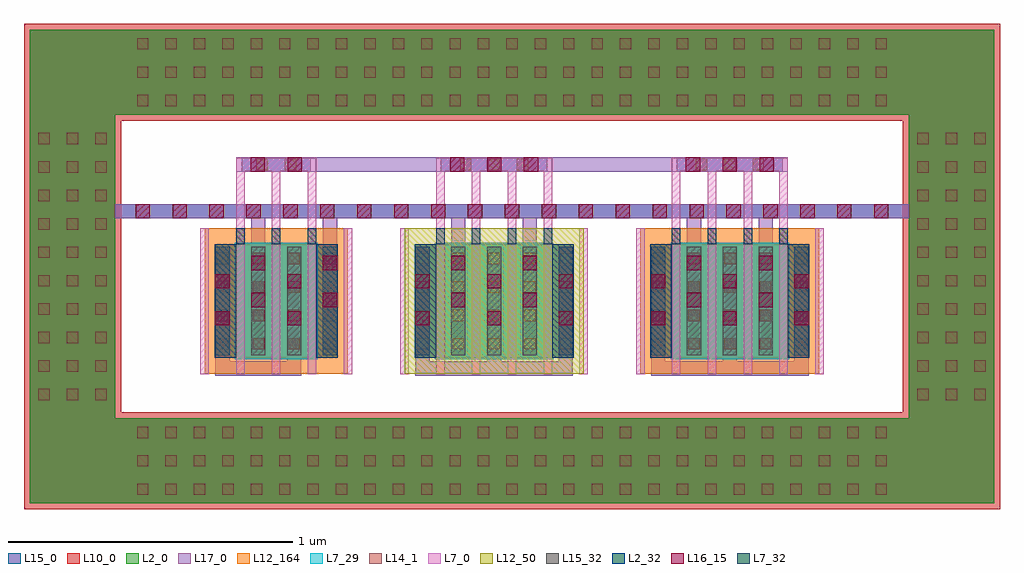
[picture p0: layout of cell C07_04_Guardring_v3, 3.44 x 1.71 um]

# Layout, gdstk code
import gdstk
lib = gdstk.Library(unit=1e-6, precision=1e-09)
def R(c, l, rs):  # rectangles x0, y0, x1, y1
    for r in rs: c.add(gdstk.rectangle(r[:2], r[2:], *l))
def A(c, l, x, y, w, h, nx, ny, dx, dy):  # array of equal rectangles
    R(c, l, [(x+i*dx, y+j*dy, x+i*dx+w, y+j*dy+h) for i in range(nx) for j in range(ny)])
L2_0 = (2, 0)
L2_32 = (2, 32)
L7_0 = (7, 0)
L7_29 = (7, 29)
L7_32 = (7, 32)
L10_0 = (10, 0)
L12_50 = (12, 50)
L12_164 = (12, 164)
L14_1 = (14, 1)
L15_0 = (15, 0)
L15_32 = (15, 32)
L16_15 = (16, 15)
L17_0 = (17, 0)

c07_04_guardring_v3_srf_ = lib.new_cell('C07_04_Guardring_v3:SRF_Tr12Tr3Tr10:SRF_Tr12:SRF_Source_ViaM1M2:SRF_ViaM1M2')
R(c07_04_guardring_v3_srf_, L15_0, [(0,-0.162,0.05,0.082)])
R(c07_04_guardring_v3_srf_, L16_15, [(0,-0.13,0.05,-0.08), (0,0,0.05,0.05)])
R(c07_04_guardring_v3_srf_, L17_0, [(0,-0.162,0.05,0.082)])

c_c07_04_guardring_v3_srf_ = lib.new_cell('C07_04_Guardring_v3:SRF_Tr12Tr3Tr10:SRF_Tr12:SRF_Source_ViaM1M2')
c_c07_04_guardring_v3_srf_.add(gdstk.Reference(c07_04_guardring_v3_srf_, (-0.025,0.04)))

c_c07_04_guardring_v3_srf__ = lib.new_cell('C07_04_Guardring_v3:SRF_Tr12Tr3Tr10:SRF_Tr12:SRF_Drain_ViaM1M2:SRF_ViaM1M2')
R(c_c07_04_guardring_v3_srf__, L15_0, [(0,-0.162,0.05,0.082)])
R(c_c07_04_guardring_v3_srf__, L16_15, [(0,-0.13,0.05,-0.08), (0,0,0.05,0.05)])
R(c_c07_04_guardring_v3_srf__, L17_0, [(0,-0.162,0.05,0.082)])

c_c07_04_guardring_v3_srf___ = lib.new_cell('C07_04_Guardring_v3:SRF_Tr12Tr3Tr10:SRF_Tr12:SRF_Drain_ViaM1M2')
c_c07_04_guardring_v3_srf___.add(gdstk.Reference(c_c07_04_guardring_v3_srf__, (-0.025,0.04)))

c_c07_04_guardring_v3_srf____ = lib.new_cell('C07_04_Guardring_v3:SRF_Tr12Tr3Tr10:SRF_Tr12:SRF_Gate_ViaM0Mx:SRF_ViaM0M1')
R(c_c07_04_guardring_v3_srf____, L7_0, [(-0.01,-0.004,0.15,0.044)])
R(c_c07_04_guardring_v3_srf____, L14_1, [(0,0,0.04,0.04), (0.1,0,0.14,0.04)])
R(c_c07_04_guardring_v3_srf____, L15_0, [(-0.021,-0.005,0.161,0.045)])

c_c07_04_guardring_v3_srf_____ = lib.new_cell('C07_04_Guardring_v3:SRF_Tr12Tr3Tr10:SRF_Tr12:SRF_Gate_ViaM0Mx:SRF_ViaM1M2')
R(c_c07_04_guardring_v3_srf_____, L15_0, [(-0.032,0,0.212,0.05)])
R(c_c07_04_guardring_v3_srf_____, L16_15, [(0,0,0.05,0.05), (0.13,0,0.18,0.05)])
R(c_c07_04_guardring_v3_srf_____, L17_0, [(-0.032,0,0.212,0.05)])

c_c07_04_guardring_v3_srf______ = lib.new_cell('C07_04_Guardring_v3:SRF_Tr12Tr3Tr10:SRF_Tr12:SRF_Gate_ViaM0Mx')
c_c07_04_guardring_v3_srf______.add(gdstk.Reference(c_c07_04_guardring_v3_srf____, (-0.07,-0.02)))
c_c07_04_guardring_v3_srf______.add(gdstk.Reference(c_c07_04_guardring_v3_srf_____, (-0.09,-0.025)))

c_c07_04_guardring_v3_srf_______ = lib.new_cell('C07_04_Guardring_v3:SRF_Tr12Tr3Tr10:SRF_Tr12')
R(c_c07_04_guardring_v3_srf_______, L2_0, [(-0.076,0.057,0.358,0.457)])
R(c_c07_04_guardring_v3_srf_______, L2_32, [(-0.076,0.057,0,0.457), (0.282,0.057,0.358,0.457)])
A(c_c07_04_guardring_v3_srf_______, L7_0, -0.126, 0, 0.03, 0.514, 5, 1, 0.126, 0)
A(c_c07_04_guardring_v3_srf_______, L7_0, 0, 0.514, 0.03, 0.2, 3, 1, 0.126, 0)
R(c_c07_04_guardring_v3_srf_______, L7_0, [(0,0.714,0.282,0.762)])
R(c_c07_04_guardring_v3_srf_______, L7_29, [(-0.005,0.052,0.287,0.462)])
A(c_c07_04_guardring_v3_srf_______, L7_32, 0, 0.457, 0.03, 0.057, 3, 1, 0.126, 0)
R(c_c07_04_guardring_v3_srf_______, L12_164, [(-0.111,0.001,0.393,0.513)])
A(c_c07_04_guardring_v3_srf_______, L14_1, -0.068, 0.087, 0.04, 0.04, 4, 4, 0.126, 0.1)
R(c_c07_04_guardring_v3_srf_______, L15_0, [(-0.073,0.066,-0.023,0.448), (-0.073,0.066,-0.023,0.448), (0.053,0.066,0.103,0.448), (0.053,0.066,0.103,0.448), (0.179,0.066,0.229,0.448), (0.179,0.066,0.229,0.448), (0.305,0.066,0.355,0.448), (0.305,0.066,0.355,0.448)])
A(c_c07_04_guardring_v3_srf_______, L15_32, -0.073, 0.066, 0.05, 0.382, 4, 1, 0.126, 0)
R(c_c07_04_guardring_v3_srf_______, L17_0, [(-0.073,-0.005,0.229,0.045), (-0.073,0.045,-0.023,0.384), (0.179,0.045,0.229,0.384), (0.053,0.448,0.103,0.548), (0.305,0.448,0.355,0.548), (0.053,0.548,0.355,0.598), (0,0.713,0.282,0.763)])
c_c07_04_guardring_v3_srf_______.add(gdstk.Reference(c_c07_04_guardring_v3_srf_, (-0.048,0.262)))
c_c07_04_guardring_v3_srf_______.add(gdstk.Reference(c_c07_04_guardring_v3_srf_, (0.204,0.262)))
c_c07_04_guardring_v3_srf_______.add(gdstk.Reference(c_c07_04_guardring_v3_srf___, (0.078,0.326)))
c_c07_04_guardring_v3_srf_______.add(gdstk.Reference(c_c07_04_guardring_v3_srf___, (0.33,0.326)))
c_c07_04_guardring_v3_srf_______.add(gdstk.Reference(c_c07_04_guardring_v3_srf______, (0.141,0.738)))

c_c07_04_guardring_v3_srf________ = lib.new_cell('C07_04_Guardring_v3:SRF_Tr12Tr3Tr10:SRF_Tr3:SRF_Source_ViaM1M2:SRF_ViaM1M2')
R(c_c07_04_guardring_v3_srf________, L15_0, [(0,-0.162,0.05,0.082)])
R(c_c07_04_guardring_v3_srf________, L16_15, [(0,-0.13,0.05,-0.08), (0,0,0.05,0.05)])
R(c_c07_04_guardring_v3_srf________, L17_0, [(0,-0.162,0.05,0.082)])

c_c07_04_guardring_v3_srf_________ = lib.new_cell('C07_04_Guardring_v3:SRF_Tr12Tr3Tr10:SRF_Tr3:SRF_Source_ViaM1M2')
c_c07_04_guardring_v3_srf_________.add(gdstk.Reference(c_c07_04_guardring_v3_srf________, (-0.025,0.04)))

c_c07_04_guardring_v3_srf__________ = lib.new_cell('C07_04_Guardring_v3:SRF_Tr12Tr3Tr10:SRF_Tr3:SRF_Drain_ViaM1M2:SRF_ViaM1M2')
R(c_c07_04_guardring_v3_srf__________, L15_0, [(0,-0.162,0.05,0.082)])
R(c_c07_04_guardring_v3_srf__________, L16_15, [(0,-0.13,0.05,-0.08), (0,0,0.05,0.05)])
R(c_c07_04_guardring_v3_srf__________, L17_0, [(0,-0.162,0.05,0.082)])

c_c07_04_guardring_v3_srf___________ = lib.new_cell('C07_04_Guardring_v3:SRF_Tr12Tr3Tr10:SRF_Tr3:SRF_Drain_ViaM1M2')
c_c07_04_guardring_v3_srf___________.add(gdstk.Reference(c_c07_04_guardring_v3_srf__________, (-0.025,0.04)))

c_c07_04_guardring_v3_srf____________ = lib.new_cell('C07_04_Guardring_v3:SRF_Tr12Tr3Tr10:SRF_Tr3:SRF_Gate_ViaM0Mx:SRF_ViaM0M1')
R(c_c07_04_guardring_v3_srf____________, L7_0, [(-0.01,-0.004,0.25,0.044)])
A(c_c07_04_guardring_v3_srf____________, L14_1, 0, 0, 0.04, 0.04, 3, 1, 0.1, 0)
R(c_c07_04_guardring_v3_srf____________, L15_0, [(-0.021,-0.005,0.261,0.045)])

c_c07_04_guardring_v3_srf_____________ = lib.new_cell('C07_04_Guardring_v3:SRF_Tr12Tr3Tr10:SRF_Tr3:SRF_Gate_ViaM0Mx:SRF_ViaM1M2')
R(c_c07_04_guardring_v3_srf_____________, L15_0, [(-0.032,0,0.342,0.05)])
A(c_c07_04_guardring_v3_srf_____________, L16_15, 0, 0, 0.05, 0.05, 3, 1, 0.13, 0)
R(c_c07_04_guardring_v3_srf_____________, L17_0, [(-0.032,0,0.342,0.05)])

c_c07_04_guardring_v3_srf______________ = lib.new_cell('C07_04_Guardring_v3:SRF_Tr12Tr3Tr10:SRF_Tr3:SRF_Gate_ViaM0Mx')
c_c07_04_guardring_v3_srf______________.add(gdstk.Reference(c_c07_04_guardring_v3_srf____________, (-0.12,-0.02)))
c_c07_04_guardring_v3_srf______________.add(gdstk.Reference(c_c07_04_guardring_v3_srf_____________, (-0.155,-0.025)))

c_c07_04_guardring_v3_srf_______________ = lib.new_cell('C07_04_Guardring_v3:SRF_Tr12Tr3Tr10:SRF_Tr3')
R(c_c07_04_guardring_v3_srf_______________, L2_0, [(-0.076,0.057,0.484,0.457)])
R(c_c07_04_guardring_v3_srf_______________, L2_32, [(-0.076,0.057,0,0.457), (0.408,0.057,0.484,0.457)])
A(c_c07_04_guardring_v3_srf_______________, L7_0, -0.126, 0, 0.03, 0.514, 6, 1, 0.126, 0)
A(c_c07_04_guardring_v3_srf_______________, L7_0, 0, 0.514, 0.03, 0.2, 4, 1, 0.126, 0)
R(c_c07_04_guardring_v3_srf_______________, L7_0, [(0,0.714,0.408,0.762)])
R(c_c07_04_guardring_v3_srf_______________, L7_29, [(-0.005,0.052,0.413,0.462)])
A(c_c07_04_guardring_v3_srf_______________, L7_32, 0, 0.457, 0.03, 0.057, 4, 1, 0.126, 0)
R(c_c07_04_guardring_v3_srf_______________, L12_50, [(-0.111,0.001,0.519,0.513)])
A(c_c07_04_guardring_v3_srf_______________, L14_1, -0.068, 0.087, 0.04, 0.04, 5, 4, 0.126, 0.1)
R(c_c07_04_guardring_v3_srf_______________, L15_0, [(-0.073,0.066,-0.023,0.448), (-0.073,0.066,-0.023,0.448), (0.053,0.066,0.103,0.448), (0.053,0.066,0.103,0.448), (0.179,0.066,0.229,0.448), (0.179,0.066,0.229,0.448), (0.305,0.066,0.355,0.448), (0.305,0.066,0.355,0.448), (0.431,0.066,0.481,0.448), (0.431,0.066,0.481,0.448)])
A(c_c07_04_guardring_v3_srf_______________, L15_32, -0.073, 0.066, 0.05, 0.382, 5, 1, 0.126, 0)
A(c_c07_04_guardring_v3_srf_______________, L17_0, -0.073, 0.045, 0.05, 0.339, 3, 1, 0.252, 0)
R(c_c07_04_guardring_v3_srf_______________, L17_0, [(-0.073,-0.005,0.481,0.045), (0.053,0.448,0.103,0.548), (0.305,0.448,0.355,0.548), (0.053,0.548,0.355,0.598), (0,0.713,0.408,0.763)])
c_c07_04_guardring_v3_srf_______________.add(gdstk.Reference(c_c07_04_guardring_v3_srf_________, (-0.048,0.262)))
c_c07_04_guardring_v3_srf_______________.add(gdstk.Reference(c_c07_04_guardring_v3_srf_________, (0.204,0.262)))
c_c07_04_guardring_v3_srf_______________.add(gdstk.Reference(c_c07_04_guardring_v3_srf_________, (0.456,0.262)))
c_c07_04_guardring_v3_srf_______________.add(gdstk.Reference(c_c07_04_guardring_v3_srf___________, (0.078,0.326)))
c_c07_04_guardring_v3_srf_______________.add(gdstk.Reference(c_c07_04_guardring_v3_srf___________, (0.33,0.326)))
c_c07_04_guardring_v3_srf_______________.add(gdstk.Reference(c_c07_04_guardring_v3_srf______________, (0.204,0.738)))

c_c07_04_guardring_v3_srf________________ = lib.new_cell('C07_04_Guardring_v3:SRF_Tr12Tr3Tr10:SRF_Tr10:SRF_Source_ViaM1M2:SRF_ViaM1M2')
R(c_c07_04_guardring_v3_srf________________, L15_0, [(0,-0.162,0.05,0.082)])
R(c_c07_04_guardring_v3_srf________________, L16_15, [(0,-0.13,0.05,-0.08), (0,0,0.05,0.05)])
R(c_c07_04_guardring_v3_srf________________, L17_0, [(0,-0.162,0.05,0.082)])

c_c07_04_guardring_v3_srf_________________ = lib.new_cell('C07_04_Guardring_v3:SRF_Tr12Tr3Tr10:SRF_Tr10:SRF_Source_ViaM1M2')
c_c07_04_guardring_v3_srf_________________.add(gdstk.Reference(c_c07_04_guardring_v3_srf________________, (-0.025,0.04)))

c_c07_04_guardring_v3_srf__________________ = lib.new_cell('C07_04_Guardring_v3:SRF_Tr12Tr3Tr10:SRF_Tr10:SRF_Drain_ViaM1M2:SRF_ViaM1M2')
R(c_c07_04_guardring_v3_srf__________________, L15_0, [(0,-0.162,0.05,0.082)])
R(c_c07_04_guardring_v3_srf__________________, L16_15, [(0,-0.13,0.05,-0.08), (0,0,0.05,0.05)])
R(c_c07_04_guardring_v3_srf__________________, L17_0, [(0,-0.162,0.05,0.082)])

c_c07_04_guardring_v3_srf___________________ = lib.new_cell('C07_04_Guardring_v3:SRF_Tr12Tr3Tr10:SRF_Tr10:SRF_Drain_ViaM1M2')
c_c07_04_guardring_v3_srf___________________.add(gdstk.Reference(c_c07_04_guardring_v3_srf__________________, (-0.025,0.04)))

c_c07_04_guardring_v3_srf____________________ = lib.new_cell('C07_04_Guardring_v3:SRF_Tr12Tr3Tr10:SRF_Tr10:SRF_Gate_ViaM0Mx:SRF_ViaM0M1')
R(c_c07_04_guardring_v3_srf____________________, L7_0, [(-0.01,-0.004,0.25,0.044)])
A(c_c07_04_guardring_v3_srf____________________, L14_1, 0, 0, 0.04, 0.04, 3, 1, 0.1, 0)
R(c_c07_04_guardring_v3_srf____________________, L15_0, [(-0.021,-0.005,0.261,0.045)])

c_c07_04_guardring_v3_srf_____________________ = lib.new_cell('C07_04_Guardring_v3:SRF_Tr12Tr3Tr10:SRF_Tr10:SRF_Gate_ViaM0Mx:SRF_ViaM1M2')
R(c_c07_04_guardring_v3_srf_____________________, L15_0, [(-0.032,0,0.342,0.05)])
A(c_c07_04_guardring_v3_srf_____________________, L16_15, 0, 0, 0.05, 0.05, 3, 1, 0.13, 0)
R(c_c07_04_guardring_v3_srf_____________________, L17_0, [(-0.032,0,0.342,0.05)])

c_c07_04_guardring_v3_srf______________________ = lib.new_cell('C07_04_Guardring_v3:SRF_Tr12Tr3Tr10:SRF_Tr10:SRF_Gate_ViaM0Mx')
c_c07_04_guardring_v3_srf______________________.add(gdstk.Reference(c_c07_04_guardring_v3_srf____________________, (-0.12,-0.02)))
c_c07_04_guardring_v3_srf______________________.add(gdstk.Reference(c_c07_04_guardring_v3_srf_____________________, (-0.155,-0.025)))

c_c07_04_guardring_v3_srf_______________________ = lib.new_cell('C07_04_Guardring_v3:SRF_Tr12Tr3Tr10:SRF_Tr10')
R(c_c07_04_guardring_v3_srf_______________________, L2_0, [(-0.076,0.057,0.484,0.457)])
R(c_c07_04_guardring_v3_srf_______________________, L2_32, [(-0.076,0.057,0,0.457), (0.408,0.057,0.484,0.457)])
A(c_c07_04_guardring_v3_srf_______________________, L7_0, -0.126, 0, 0.03, 0.514, 6, 1, 0.126, 0)
A(c_c07_04_guardring_v3_srf_______________________, L7_0, 0, 0.514, 0.03, 0.2, 4, 1, 0.126, 0)
R(c_c07_04_guardring_v3_srf_______________________, L7_0, [(0,0.714,0.408,0.762)])
R(c_c07_04_guardring_v3_srf_______________________, L7_29, [(-0.005,0.052,0.413,0.462)])
A(c_c07_04_guardring_v3_srf_______________________, L7_32, 0, 0.457, 0.03, 0.057, 4, 1, 0.126, 0)
R(c_c07_04_guardring_v3_srf_______________________, L12_164, [(-0.111,0.001,0.519,0.513)])
A(c_c07_04_guardring_v3_srf_______________________, L14_1, -0.068, 0.087, 0.04, 0.04, 5, 4, 0.126, 0.1)
R(c_c07_04_guardring_v3_srf_______________________, L15_0, [(-0.073,0.066,-0.023,0.448), (-0.073,0.066,-0.023,0.448), (0.053,0.066,0.103,0.448), (0.053,0.066,0.103,0.448), (0.179,0.066,0.229,0.448), (0.179,0.066,0.229,0.448), (0.305,0.066,0.355,0.448), (0.305,0.066,0.355,0.448), (0.431,0.066,0.481,0.448), (0.431,0.066,0.481,0.448)])
A(c_c07_04_guardring_v3_srf_______________________, L15_32, -0.073, 0.066, 0.05, 0.382, 5, 1, 0.126, 0)
A(c_c07_04_guardring_v3_srf_______________________, L17_0, -0.073, 0.045, 0.05, 0.339, 3, 1, 0.252, 0)
R(c_c07_04_guardring_v3_srf_______________________, L17_0, [(-0.073,-0.005,0.481,0.045), (0.053,0.448,0.103,0.548), (0.305,0.448,0.355,0.548), (0.053,0.548,0.355,0.598), (0,0.713,0.408,0.763)])
c_c07_04_guardring_v3_srf_______________________.add(gdstk.Reference(c_c07_04_guardring_v3_srf_________________, (-0.048,0.262)))
c_c07_04_guardring_v3_srf_______________________.add(gdstk.Reference(c_c07_04_guardring_v3_srf_________________, (0.204,0.262)))
c_c07_04_guardring_v3_srf_______________________.add(gdstk.Reference(c_c07_04_guardring_v3_srf_________________, (0.456,0.262)))
c_c07_04_guardring_v3_srf_______________________.add(gdstk.Reference(c_c07_04_guardring_v3_srf___________________, (0.078,0.326)))
c_c07_04_guardring_v3_srf_______________________.add(gdstk.Reference(c_c07_04_guardring_v3_srf___________________, (0.33,0.326)))
c_c07_04_guardring_v3_srf_______________________.add(gdstk.Reference(c_c07_04_guardring_v3_srf______________________, (0.204,0.738)))

c_c07_04_guardring_v3_srf________________________ = lib.new_cell('C07_04_Guardring_v3:SRF_Tr12Tr3Tr10')
c_c07_04_guardring_v3_srf________________________.add(gdstk.Reference(c_c07_04_guardring_v3_srf_______, (0,0)))
c_c07_04_guardring_v3_srf________________________.add(gdstk.Reference(c_c07_04_guardring_v3_srf_______________, (0.704,0)))
c_c07_04_guardring_v3_srf________________________.add(gdstk.Reference(c_c07_04_guardring_v3_srf_______________________, (1.534,0)))

c07_04_guardring_v3__pbo = lib.new_cell('C07_04_Guardring_v3:_Pbodyring:SRF_PbodyTop:SRF_PbodyContactPhyLen')
R(c07_04_guardring_v3__pbo, L2_0, [(-0.077,-0.23,2.717,0.07)])
R(c07_04_guardring_v3__pbo, L10_0, [(-0.098,-0.251,2.738,0.091)])
A(c07_04_guardring_v3__pbo, L14_1, 0, -0.2, 0.04, 0.04, 27, 3, 0.1, 0.1)
R(c07_04_guardring_v3__pbo, L15_0, [(-0.077,-0.23,2.717,0.07)])

c_c07_04_guardring_v3__pbo = lib.new_cell('C07_04_Guardring_v3:_Pbodyring:SRF_PbodyTop')
c_c07_04_guardring_v3__pbo.add(gdstk.Reference(c07_04_guardring_v3__pbo, (0,0)))

c_c07_04_guardring_v3__pbo_ = lib.new_cell('C07_04_Guardring_v3:_Pbodyring:SRF_PbodyBottom:SRF_PbodyContactPhyLen')
R(c_c07_04_guardring_v3__pbo_, L2_0, [(-0.077,-0.23,2.717,0.07)])
R(c_c07_04_guardring_v3__pbo_, L10_0, [(-0.098,-0.251,2.738,0.091)])
A(c_c07_04_guardring_v3__pbo_, L14_1, 0, -0.2, 0.04, 0.04, 27, 3, 0.1, 0.1)
R(c_c07_04_guardring_v3__pbo_, L15_0, [(-0.077,-0.23,2.717,0.07)])

c_c07_04_guardring_v3__pbo__ = lib.new_cell('C07_04_Guardring_v3:_Pbodyring:SRF_PbodyBottom')
c_c07_04_guardring_v3__pbo__.add(gdstk.Reference(c_c07_04_guardring_v3__pbo_, (0,0)))

c_c07_04_guardring_v3__pbo___ = lib.new_cell('C07_04_Guardring_v3:_Pbodyring:SRF_PbodyLeft:SRF_PbodyContactPhyLen')
R(c_c07_04_guardring_v3__pbo___, L2_0, [(-0.03,-0.964,0.27,0.104)])
R(c_c07_04_guardring_v3__pbo___, L10_0, [(-0.051,-0.985,0.291,0.125)])
A(c_c07_04_guardring_v3__pbo___, L14_1, 0, -0.9, 0.04, 0.04, 3, 10, 0.1, 0.1)
R(c_c07_04_guardring_v3__pbo___, L15_0, [(-0.03,-0.964,0.27,0.104)])

c_c07_04_guardring_v3__pbo____ = lib.new_cell('C07_04_Guardring_v3:_Pbodyring:SRF_PbodyLeft')
c_c07_04_guardring_v3__pbo____.add(gdstk.Reference(c_c07_04_guardring_v3__pbo___, (0,0)))

c_c07_04_guardring_v3__pbo_____ = lib.new_cell('C07_04_Guardring_v3:_Pbodyring:SRF_PbodyRight:SRF_PbodyContactPhyLen')
R(c_c07_04_guardring_v3__pbo_____, L2_0, [(-0.03,-0.964,0.27,0.104)])
R(c_c07_04_guardring_v3__pbo_____, L10_0, [(-0.051,-0.985,0.291,0.125)])
A(c_c07_04_guardring_v3__pbo_____, L14_1, 0, -0.9, 0.04, 0.04, 3, 10, 0.1, 0.1)
R(c_c07_04_guardring_v3__pbo_____, L15_0, [(-0.03,-0.964,0.27,0.104)])

c_c07_04_guardring_v3__pbo______ = lib.new_cell('C07_04_Guardring_v3:_Pbodyring:SRF_PbodyRight')
c_c07_04_guardring_v3__pbo______.add(gdstk.Reference(c_c07_04_guardring_v3__pbo_____, (0,0)))

c_c07_04_guardring_v3__pbo_______ = lib.new_cell('C07_04_Guardring_v3:_Pbodyring')
R(c_c07_04_guardring_v3__pbo_______, L2_0, [(-0.377,-1.598,3.017,-1.298), (-0.377,-1.598,-0.077,0.07), (2.717,-1.598,3.017,0.07), (-0.377,-0.23,3.017,0.07)])
R(c_c07_04_guardring_v3__pbo_______, L10_0, [(-0.398,-1.619,3.038,-1.277), (-0.398,-1.619,-0.056,0.091), (2.696,-1.619,3.038,0.091), (-0.398,-0.251,3.038,0.091)])
R(c_c07_04_guardring_v3__pbo_______, L15_0, [(-0.377,-1.598,3.017,-1.298), (-0.377,-1.598,-0.077,0.07), (2.717,-1.598,3.017,0.07), (-0.377,-0.23,3.017,0.07)])
c_c07_04_guardring_v3__pbo_______.add(gdstk.Reference(c_c07_04_guardring_v3__pbo, (0,0)))
c_c07_04_guardring_v3__pbo_______.add(gdstk.Reference(c_c07_04_guardring_v3__pbo__, (0,-1.368)))
c_c07_04_guardring_v3__pbo_______.add(gdstk.Reference(c_c07_04_guardring_v3__pbo____, (-0.347,-0.334)))
c_c07_04_guardring_v3__pbo_______.add(gdstk.Reference(c_c07_04_guardring_v3__pbo______, (2.747,-0.334)))

c_c07_04_guardring_v3_srf_________________________ = lib.new_cell('C07_04_Guardring_v3:SRF_Tr12Tr3Tr10_Drain_ViaM1M2:SRF_ViaM1M2')
R(c_c07_04_guardring_v3_srf_________________________, L15_0, [(-0.032,0,2.682,0.05)])
A(c_c07_04_guardring_v3_srf_________________________, L16_15, 0, 0, 0.05, 0.05, 21, 1, 0.13, 0)
R(c_c07_04_guardring_v3_srf_________________________, L17_0, [(-0.032,0,2.682,0.05)])

c_c07_04_guardring_v3_srf__________________________ = lib.new_cell('C07_04_Guardring_v3:SRF_Tr12Tr3Tr10_Drain_ViaM1M2')
c_c07_04_guardring_v3_srf__________________________.add(gdstk.Reference(c_c07_04_guardring_v3_srf_________________________, (-1.325,-0.025)))

c07_04_guardring_v3 = lib.new_cell('C07_04_Guardring_v3')
R(c07_04_guardring_v3, L15_0, [(-0.426,0.548,2.368,0.598)])
R(c07_04_guardring_v3, L17_0, [(-0.426,0.548,2.368,0.598), (0,0.713,1.942,0.763)])
c07_04_guardring_v3.add(gdstk.Reference(c_c07_04_guardring_v3_srf________________________, (0,0)))
c07_04_guardring_v3.add(gdstk.Reference(c_c07_04_guardring_v3__pbo_______, (-0.349,1.143)))
c07_04_guardring_v3.add(gdstk.Reference(c_c07_04_guardring_v3_srf__________________________, (0.971,0.573)))

lib.write_gds('C07_04_Guardring_v3.gds')
